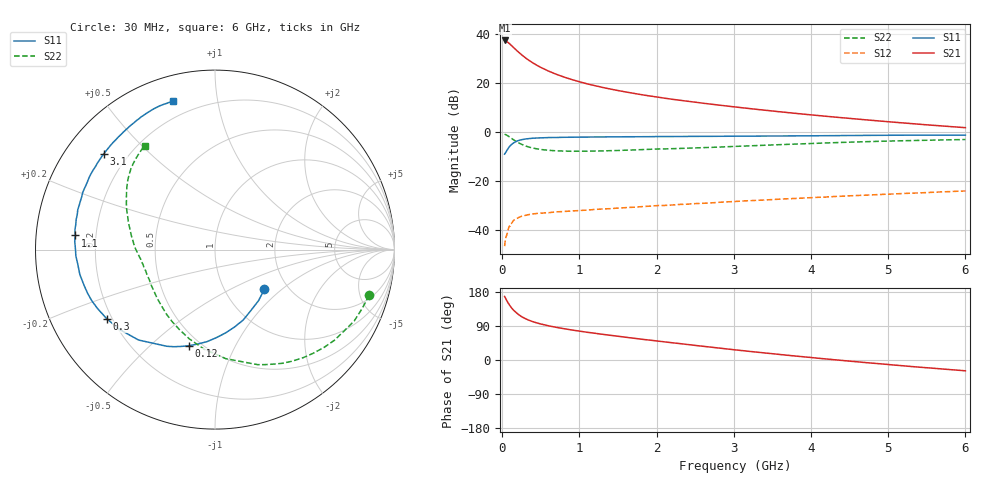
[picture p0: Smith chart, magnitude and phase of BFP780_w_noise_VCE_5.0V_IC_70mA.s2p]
! Infineon Technologies  Discrete & RF Semiconductors
! BFP780
! VCE =  5.0 V,  IC =  70 mA
! Common Emitter S-Parameters:  Jul 2015
# GHz  S  MA  R  50
!  f  S11  S21  S12  S22
! GHz  MAG  ANG  MAG  ANG  MAG  ANG  MAG  ANG
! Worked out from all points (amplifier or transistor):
!   75 points, 30 MHz to 6 GHz, reference 50 ohm
!   highest |S21| = 37.2 dB at 30 MHz (marker M1)
!   |S21| within 3 dB of that: start of sweep to 150.3 MHz
!   unconditionally stable (mu >= 1): 1.772 GHz to end of sweep
!   at 150 MHz: K = 0.21, MSG = 35.1 dB, |S12| = -36.0 dB
!   at 2.3 GHz: K = 1.12, MAG = 19.1 dB, |S12| = -29.6 dB
!   at 6 GHz: K = 1.19, MAG = 10.2 dB, |S12| = -24.1 dB
!   lowest NFmin = 1.66 dB at 450 MHz
!   S11 on the Smith chart (normalised r, x): 30 MHz: 1.53, -0.77; 120 MHz: 0.43, -0.67; 300 MHz: 0.18, -0.28; 1.1 GHz: 0.12, +0.05; 3.1 GHz: 0.11, +0.37; 6 GHz: 0.12, +0.75
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0.03  0.3528 -38.7  72.8 167.8  0.0047 61.7  0.8963 -16.5
0.05  0.3934 -59.3  70.28 159.8  0.0074 66.4  0.8716 -27.1
0.07  0.4452 -75.9  66.99 152.6  0.0093 61.2  0.8354 -37.2
0.09  0.4925 -89.6  63.14 146.0  0.012 54.9  0.7949 -46.7
0.11  0.5346 -100.3  59.14 140.2  0.0134 50.4  0.7565 -55.2
0.12  0.554 -105.0  57.19 137.6  0.0137 50.3  0.7377 -59.1
0.15  0.6018 -116.5  51.59 130.6  0.0159 42.8  0.6841 -69.6
0.2  0.6597 -130.2  43.51 121.5  0.0176 38.7  0.6103 -84.4
0.25  0.693 -140.0  37.24 114.4  0.0192 34.1  0.5584 -96.2
0.3  0.7155 -147.4  32.22 109.0  0.0199 31.4  0.5175 -106.0
0.35  0.7315 -153.1  28.31 104.5  0.0208 28.5  0.4877 -114.0
0.4  0.7435 -157.5  25.18 100.9  0.0214 27.3  0.467 -120.7
0.5  0.7558 -164.5  20.54 95.0  0.0221 25.5  0.4375 -131.4
0.6  0.7658 -169.6  17.29 90.2  0.0226 24.9  0.4219 -139.6
0.8  0.7758 -177.3  13.08 82.6  0.0239 24.0  0.4067 -151.3
1.1  0.7831 174.2  9.513 73.2  0.0255 25.0  0.4039 -162.9
1.5  0.7918 165.8  6.945 62.7  0.0281 26.4  0.4176 -172.7
2.1  0.8031 155.1  4.865 47.9  0.0317 27.7  0.4495 177.2
3.1  0.8181 139.3  3.11 25.0  0.0389 27.9  0.512 161.1
4.1  0.8346 125.2  2.147 4.5  0.0465 25.3  0.5872 147.1
5.1  0.8548 113.9  1.564 -13.7  0.0547 21.1  0.6546 134.9
6  0.8589 105.7  1.218 -28.5  0.0626 15.6  0.6987 124.1
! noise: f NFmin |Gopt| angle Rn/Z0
0.45  1.66  0.46  179  0.07
0.9  1.71  0.49  -169  0.08
1.5  1.77  0.51  -160  0.09
1.8  1.94  0.52  -154  0.1
2.4  2.06  0.53  -146  0.15
3  2.34  0.54  -137  0.21
3.5  2.82  0.58  -123  0.32
